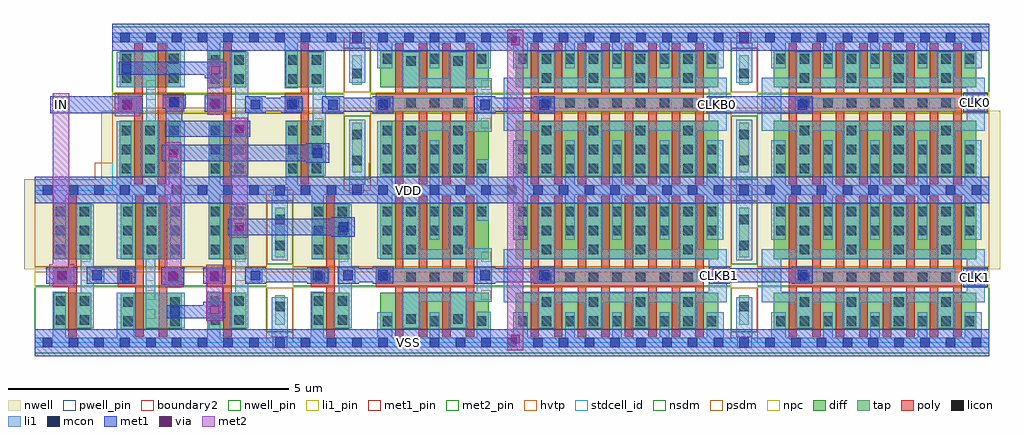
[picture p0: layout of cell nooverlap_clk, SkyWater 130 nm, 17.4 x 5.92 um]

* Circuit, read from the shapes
.subckt nooverlap_clk CLK0 CLK1 CLKB0 CLKB1 IN VDD VSS
XM1 sky130_fd_sc_hd__nand2_1_2/B IN VSS VSS sky130_fd_pr__nfet_01v8 w=0.65 l=0.15
XM2 n1 IN sky130_fd_sc_hd__inv_1_4/A VSS sky130_fd_pr__nfet_01v8 w=0.65 l=0.15
XM3 n2 sky130_fd_sc_hd__nand2_1_2/B VSS VSS sky130_fd_pr__nfet_01v8 w=0.65 l=0.15
XM4 VSS sky130_fd_sc_hd__inv_4_10/A n1 VSS sky130_fd_pr__nfet_01v8 w=0.65 l=0.15
XM5 sky130_fd_sc_hd__inv_1_5/A sky130_fd_sc_hd__inv_4_9/A n2 VSS sky130_fd_pr__nfet_01v8 w=0.65 l=0.15
XM6 sky130_fd_sc_hd__inv_1_8/A sky130_fd_sc_hd__inv_1_5/A VSS VSS sky130_fd_pr__nfet_01v8 w=0.65 l=0.15
XM7 sky130_fd_sc_hd__inv_1_6/A sky130_fd_sc_hd__inv_1_4/A VSS VSS sky130_fd_pr__nfet_01v8 w=0.65 l=0.15
XM8 sky130_fd_sc_hd__inv_4_9/A sky130_fd_sc_hd__inv_1_6/A VSS VSS sky130_fd_pr__nfet_01v8 w=0.65 l=0.15
XM9 sky130_fd_sc_hd__inv_4_10/A sky130_fd_sc_hd__inv_1_8/A VSS VSS sky130_fd_pr__nfet_01v8 w=0.65 l=0.15
XM10 sky130_fd_sc_hd__inv_8_12/A sky130_fd_sc_hd__inv_4_10/A VSS VSS sky130_fd_pr__nfet_01v8 w=0.65 l=0.15 m=4
XM11 sky130_fd_sc_hd__inv_8_11/A sky130_fd_sc_hd__inv_4_9/A VSS VSS sky130_fd_pr__nfet_01v8 w=0.65 l=0.15 m=4
XM12 CLKB1 sky130_fd_sc_hd__inv_8_12/A VSS VSS sky130_fd_pr__nfet_01v8 w=0.65 l=0.15 m=8
XM13 CLKB0 sky130_fd_sc_hd__inv_8_11/A VSS VSS sky130_fd_pr__nfet_01v8 w=0.65 l=0.15 m=8
XM14 CLK1 CLKB1 VSS VSS sky130_fd_pr__nfet_01v8 w=0.65 l=0.15 m=8
XM15 CLK0 CLKB0 VSS VSS sky130_fd_pr__nfet_01v8 w=0.65 l=0.15 m=8
XM16 sky130_fd_sc_hd__nand2_1_2/B IN VDD VDD sky130_fd_pr__pfet_01v8_hvt w=1 l=0.15
XM17 sky130_fd_sc_hd__inv_1_4/A IN VDD VDD sky130_fd_pr__pfet_01v8_hvt w=1 l=0.15
XM18 sky130_fd_sc_hd__inv_1_5/A sky130_fd_sc_hd__nand2_1_2/B VDD VDD sky130_fd_pr__pfet_01v8_hvt w=1 l=0.15
XM19 VDD sky130_fd_sc_hd__inv_4_10/A sky130_fd_sc_hd__inv_1_4/A VDD sky130_fd_pr__pfet_01v8_hvt w=1 l=0.15
XM20 VDD sky130_fd_sc_hd__inv_4_9/A sky130_fd_sc_hd__inv_1_5/A VDD sky130_fd_pr__pfet_01v8_hvt w=1 l=0.15
XM21 sky130_fd_sc_hd__inv_1_8/A sky130_fd_sc_hd__inv_1_5/A VDD VDD sky130_fd_pr__pfet_01v8_hvt w=1 l=0.15
XM22 sky130_fd_sc_hd__inv_1_6/A sky130_fd_sc_hd__inv_1_4/A VDD VDD sky130_fd_pr__pfet_01v8_hvt w=1 l=0.15
XM23 sky130_fd_sc_hd__inv_4_9/A sky130_fd_sc_hd__inv_1_6/A VDD VDD sky130_fd_pr__pfet_01v8_hvt w=1 l=0.15
XM24 sky130_fd_sc_hd__inv_4_10/A sky130_fd_sc_hd__inv_1_8/A VDD VDD sky130_fd_pr__pfet_01v8_hvt w=1 l=0.15
XM25 sky130_fd_sc_hd__inv_8_12/A sky130_fd_sc_hd__inv_4_10/A VDD VDD sky130_fd_pr__pfet_01v8_hvt w=1 l=0.15 m=4
XM26 sky130_fd_sc_hd__inv_8_11/A sky130_fd_sc_hd__inv_4_9/A VDD VDD sky130_fd_pr__pfet_01v8_hvt w=1 l=0.15 m=4
XM27 CLKB1 sky130_fd_sc_hd__inv_8_12/A VDD VDD sky130_fd_pr__pfet_01v8_hvt w=1 l=0.15 m=8
XM28 CLKB0 sky130_fd_sc_hd__inv_8_11/A VDD VDD sky130_fd_pr__pfet_01v8_hvt w=1 l=0.15 m=8
XM29 CLK1 CLKB1 VDD VDD sky130_fd_pr__pfet_01v8_hvt w=1 l=0.15 m=8
XM30 CLK0 CLKB0 VDD VDD sky130_fd_pr__pfet_01v8_hvt w=1 l=0.15 m=8
.ends

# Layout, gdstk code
from math import pi, radians
import gdstk
lib = gdstk.Library(unit=1e-6, precision=1e-09)
def R(c, l, rs):  # rectangles x0, y0, x1, y1
    for r in rs: c.add(gdstk.rectangle(r[:2], r[2:], *l))
def A(c, l, x, y, w, h, nx, ny, dx, dy):  # array of equal rectangles
    R(c, l, [(x+i*dx, y+j*dy, x+i*dx+w, y+j*dy+h) for i in range(nx) for j in range(ny)])
def P(c, l, *ps):  # polygons
    for p in ps: c.add(gdstk.Polygon(p, *l))
nwell_pin = (64, 16)
nwell = (64, 20)
diff = (65, 20)
tap = (65, 44)
poly = (66, 20)
licon = (66, 44)
li1_pin = (67, 16)
li1 = (67, 20)
mcon = (67, 44)
met1_pin = (68, 16)
met1 = (68, 20)
via = (68, 44)
met2_pin = (69, 16)
met2 = (69, 20)
hvtp = (78, 44)
stdcell_id = (81, 4)
nsdm = (93, 44)
psdm = (94, 20)
npc = (95, 20)
pwell_pin = (122, 16)
boundary2 = (236, 0)

sky130_fd_sc_hd__tapvpwr = lib.new_cell('sky130_fd_sc_hd__tapvpwrvgnd_1')
R(sky130_fd_sc_hd__tapvpwr, nwell, [(-0.19,1.305,0.65,2.91)])
R(sky130_fd_sc_hd__tapvpwr, tap, [(0.145,0.32,0.315,0.845), (0.145,1.525,0.315,2.4)])
R(sky130_fd_sc_hd__tapvpwr, licon, [(0.145,0.555,0.315,0.725), (0.145,1.645,0.315,1.815), (0.145,2.11,0.315,2.28)])
R(sky130_fd_sc_hd__tapvpwr, li1, [(0,-0.085,0.46,0.085), (0.085,0,0.375,0.81), (0.085,1.47,0.375,2.72), (0,2.635,0.46,2.805)])
R(sky130_fd_sc_hd__tapvpwr, mcon, [(0.145,-0.085,0.315,0.085), (0.145,2.635,0.315,2.805)])
R(sky130_fd_sc_hd__tapvpwr, met1_pin, [(0.105,-0.09,0.36,0.1), (0.11,2.62,0.375,2.765)])
R(sky130_fd_sc_hd__tapvpwr, met1, [(0,-0.24,0.46,0.24), (0,2.48,0.46,2.96)])
R(sky130_fd_sc_hd__tapvpwr, hvtp, [(0,1.25,0.46,2.72)])
R(sky130_fd_sc_hd__tapvpwr, stdcell_id, [(0,0,0.46,2.72)])
R(sky130_fd_sc_hd__tapvpwr, nsdm, [(0,-0.19,0.46,0.19), (0,1.395,0.46,2.53)])
R(sky130_fd_sc_hd__tapvpwr, psdm, [(0,0.19,0.46,0.975), (0,2.53,0.46,2.91)])
sky130_fd_sc_hd__tapvpwr.add(gdstk.Label('VPWR', (0.23,2.72), layer=68, texttype=5))
sky130_fd_sc_hd__tapvpwr.add(gdstk.Label('VGND', (0.23,0), layer=68, texttype=5))
sky130_fd_sc_hd__tapvpwr.add(gdstk.Label('tapvpwrvgnd_1', (0,0), layer=83, texttype=44))

sky130_fd_sc_hd__nand2_1 = lib.new_cell('sky130_fd_sc_hd__nand2_1')
R(sky130_fd_sc_hd__nand2_1, nwell_pin, [(0.14,2.635,0.31,2.805)])
R(sky130_fd_sc_hd__nand2_1, nwell, [(-0.19,1.305,1.57,2.91)])
R(sky130_fd_sc_hd__nand2_1, diff, [(0.155,0.235,1.245,0.885), (0.155,1.485,1.245,2.485)])
P(sky130_fd_sc_hd__nand2_1, poly, [(1.275,1.325),(0.985,1.325),(0.985,2.615),(0.835,2.615),(0.835,0.105),(0.985,0.105),(0.985,0.995),(1.275,0.995)],
  [(0.565,2.615),(0.415,2.615),(0.415,1.325),(0.105,1.325),(0.105,0.995),(0.415,0.995),(0.415,0.105),(0.565,0.105)])
A(sky130_fd_sc_hd__nand2_1, licon, 0.195, 1.575, 0.17, 0.17, 3, 3, 0.42, 0.34)
R(sky130_fd_sc_hd__nand2_1, licon, [(0.195,0.295,0.365,0.465), (1.035,0.295,1.205,0.465), (0.195,0.635,0.365,0.805), (1.035,0.635,1.205,0.805), (0.18,1.075,0.35,1.245), (1.02,1.075,1.19,1.245)])
A(sky130_fd_sc_hd__nand2_1, li1_pin, 0.14, 1.105, 0.17, 0.17, 3, 1, 0.46, 0)
R(sky130_fd_sc_hd__nand2_1, li1_pin, [(0.6,0.425,0.77,0.595), (0.6,0.765,0.77,0.935)])
R(sky130_fd_sc_hd__nand2_1, li1, [(0.095,1.055,0.43,1.325), (0.94,1.075,1.275,1.325)])
P(sky130_fd_sc_hd__nand2_1, li1, [(1.38,0.085),(0.395,0.085),(0.395,0.885),(0.085,0.885),(0.085,0.085),(0,0.085),(0,-0.085),(1.38,-0.085)],
  [(1.38,2.805),(0,2.805),(0,2.635),(0.085,2.635),(0.085,1.495),(0.365,1.495),(0.365,2.635),(1.035,2.635),(1.035,1.495),(1.295,1.495),(1.295,2.635),(1.38,2.635)],
  [(1.295,0.885),(0.77,0.885),(0.77,1.485),(0.865,1.485),(0.865,2.465),(0.535,2.465),(0.535,1.485),(0.6,1.485),(0.6,0.255),(1.295,0.255)])
A(sky130_fd_sc_hd__nand2_1, mcon, 0.145, -0.085, 0.17, 0.17, 3, 2, 0.46, 2.72)
R(sky130_fd_sc_hd__nand2_1, met1_pin, [(0.14,-0.085,0.31,0.085), (0.14,2.635,0.31,2.805)])
R(sky130_fd_sc_hd__nand2_1, hvtp, [(0,1.25,1.38,2.72)])
R(sky130_fd_sc_hd__nand2_1, stdcell_id, [(0,0,1.38,2.72)])
R(sky130_fd_sc_hd__nand2_1, nsdm, [(0,-0.19,1.38,1.015)])
R(sky130_fd_sc_hd__nand2_1, psdm, [(0,1.355,1.38,2.91)])
R(sky130_fd_sc_hd__nand2_1, npc, [(0,0.975,1.38,1.345)])
R(sky130_fd_sc_hd__nand2_1, pwell_pin, [(0.14,-0.085,0.31,0.085)])
R(sky130_fd_sc_hd__nand2_1, boundary2, [(0,0,1.38,2.72)])
sky130_fd_sc_hd__nand2_1.add(gdstk.FlexPath([(0,2.72),(1.38,2.72)], 0.48, ends="flush", simple_path=True, layer=68, datatype=20))  # met1
sky130_fd_sc_hd__nand2_1.add(gdstk.FlexPath([(0,0),(1.38,0)], 0.48, ends="flush", simple_path=True, layer=68, datatype=20))  # met1
sky130_fd_sc_hd__nand2_1.add(gdstk.Label('Y', (0.685,0.51), layer=67, texttype=5))
sky130_fd_sc_hd__nand2_1.add(gdstk.Label('Y', (0.685,0.85), layer=67, texttype=5))
sky130_fd_sc_hd__nand2_1.add(gdstk.Label('Y', (0.685,1.19), layer=67, texttype=5))
sky130_fd_sc_hd__nand2_1.add(gdstk.Label('B', (0.225,1.19), layer=67, texttype=5))
sky130_fd_sc_hd__nand2_1.add(gdstk.Label('A', (1.145,1.19), layer=67, texttype=5))
sky130_fd_sc_hd__nand2_1.add(gdstk.Label('VPB', (0.225,2.72), layer=64, texttype=5))
sky130_fd_sc_hd__nand2_1.add(gdstk.Label('VNB', (0.225,0), layer=64, texttype=59))
sky130_fd_sc_hd__nand2_1.add(gdstk.Label('VGND', (0.23,0), layer=68, texttype=5))
sky130_fd_sc_hd__nand2_1.add(gdstk.Label('VPWR', (0.225,2.72), layer=68, texttype=5))
sky130_fd_sc_hd__nand2_1.add(gdstk.Label('nand2_1', (0,0), layer=83, texttype=44))

sky130_fd_sc_hd__inv_1 = lib.new_cell('sky130_fd_sc_hd__inv_1')
R(sky130_fd_sc_hd__inv_1, nwell_pin, [(0.145,2.635,0.315,2.805), (0.145,2.635,0.315,2.805)])
R(sky130_fd_sc_hd__inv_1, nwell, [(-0.19,1.305,1.57,2.91)])
R(sky130_fd_sc_hd__inv_1, diff, [(0.34,0.235,1.01,0.885), (0.34,1.485,1.01,2.485)])
P(sky130_fd_sc_hd__inv_1, poly, [(0.75,2.615),(0.6,2.615),(0.6,1.325),(0.32,1.325),(0.32,0.995),(0.6,0.995),(0.6,0.105),(0.75,0.105)])
A(sky130_fd_sc_hd__inv_1, licon, 0.38, 1.575, 0.17, 0.17, 1, 3, 0, 0.34)
A(sky130_fd_sc_hd__inv_1, licon, 0.8, 1.575, 0.17, 0.17, 1, 3, 0, 0.34)
R(sky130_fd_sc_hd__inv_1, licon, [(0.38,0.315,0.55,0.485), (0.8,0.315,0.97,0.485), (0.38,0.655,0.55,0.825), (0.8,0.655,0.97,0.825), (0.4,1.075,0.57,1.245)])
R(sky130_fd_sc_hd__inv_1, li1_pin, [(0.36,1.105,0.53,1.275), (0.82,1.105,0.99,1.275), (0.82,1.445,0.99,1.615)])
R(sky130_fd_sc_hd__inv_1, li1, [(0,-0.085,1.38,0.085), (0.32,0.005,0.55,0.905), (0.32,1.075,0.65,1.315), (0.34,1.495,0.55,2.675), (0,2.635,1.38,2.805)])
P(sky130_fd_sc_hd__inv_1, li1, [(1.05,2.465),(0.72,2.465),(0.72,1.485),(0.82,1.485),(0.82,0.885),(0.72,0.885),(0.72,0.255),(1.05,0.255)])
A(sky130_fd_sc_hd__inv_1, mcon, 0.145, -0.085, 0.17, 0.17, 3, 2, 0.46, 2.72)
R(sky130_fd_sc_hd__inv_1, met1_pin, [(0.145,-0.085,0.315,0.085), (0.145,-0.085,0.315,0.085), (0.145,2.635,0.315,2.805), (0.145,2.635,0.315,2.805)])
R(sky130_fd_sc_hd__inv_1, hvtp, [(0,1.25,1.38,2.72)])
R(sky130_fd_sc_hd__inv_1, stdcell_id, [(0,0,1.38,2.72)])
R(sky130_fd_sc_hd__inv_1, nsdm, [(0,-0.19,1.38,1.015)])
R(sky130_fd_sc_hd__inv_1, psdm, [(0,1.355,1.38,2.91)])
R(sky130_fd_sc_hd__inv_1, npc, [(0,0.975,1.38,1.345)])
R(sky130_fd_sc_hd__inv_1, pwell_pin, [(0.145,-0.085,0.315,0.085), (0.145,-0.085,0.315,0.085)])
R(sky130_fd_sc_hd__inv_1, boundary2, [(0,0,1.38,2.72)])
sky130_fd_sc_hd__inv_1.add(gdstk.FlexPath([(0,2.72),(1.38,2.72)], 0.48, ends="flush", simple_path=True, layer=68, datatype=20))  # met1
sky130_fd_sc_hd__inv_1.add(gdstk.FlexPath([(0,0),(1.38,0)], 0.48, ends="flush", simple_path=True, layer=68, datatype=20))  # met1
sky130_fd_sc_hd__inv_1.add(gdstk.Label('Y', (0.905,1.53), layer=67, texttype=5))
sky130_fd_sc_hd__inv_1.add(gdstk.Label('Y', (0.905,1.19), layer=67, texttype=5))
sky130_fd_sc_hd__inv_1.add(gdstk.Label('A', (0.445,1.19), layer=67, texttype=5))
sky130_fd_sc_hd__inv_1.add(gdstk.Label('VPB', (0.23,2.72), layer=64, texttype=5))
sky130_fd_sc_hd__inv_1.add(gdstk.Label('VNB', (0.23,0), layer=64, texttype=59))
sky130_fd_sc_hd__inv_1.add(gdstk.Label('VGND', (0.23,0), layer=68, texttype=5))
sky130_fd_sc_hd__inv_1.add(gdstk.Label('VPWR', (0.23,2.72), layer=68, texttype=5))
sky130_fd_sc_hd__inv_1.add(gdstk.Label('inv_1', (0,0), layer=83, texttype=44))

sky130_fd_sc_hd__inv_4 = lib.new_cell('sky130_fd_sc_hd__inv_4')
R(sky130_fd_sc_hd__inv_4, nwell_pin, [(0.145,2.635,0.315,2.805)])
R(sky130_fd_sc_hd__inv_4, nwell, [(-0.19,1.305,2.49,2.91)])
R(sky130_fd_sc_hd__inv_4, diff, [(0.185,0.235,2.115,0.885), (0.185,1.485,2.115,2.485)])
P(sky130_fd_sc_hd__inv_4, poly, [(1.855,2.615),(1.705,2.615),(1.705,1.325),(1.435,1.325),(1.435,2.615),(1.285,2.615),(1.285,1.325),(1.015,1.325),(1.015,2.615),(0.865,2.615),(0.865,1.325),(0.595,1.325),(0.595,2.615),(0.445,2.615),(0.445,1.325),(0.105,1.325),(0.105,0.995),(0.445,0.995),(0.445,0.105),(0.595,0.105),(0.595,0.995),(0.865,0.995),(0.865,0.105),(1.015,0.105),(1.015,0.995),(1.285,0.995),(1.285,0.105),(1.435,0.105),(1.435,0.995),(1.705,0.995),(1.705,0.105),(1.855,0.105)])
A(sky130_fd_sc_hd__inv_4, licon, 0.645, 1.075, 0.17, 0.17, 3, 1, 0.42, 0)
A(sky130_fd_sc_hd__inv_4, licon, 0.225, 1.915, 0.17, 0.17, 4, 1, 0.42, 0)
A(sky130_fd_sc_hd__inv_4, licon, 0.225, 2.255, 0.17, 0.17, 5, 1, 0.42, 0)
R(sky130_fd_sc_hd__inv_4, licon, [(0.225,0.295,0.395,0.465), (1.065,0.295,1.235,0.465), (1.905,0.3,2.075,0.47), (0.645,0.335,0.815,0.505), (1.485,0.335,1.655,0.505), (0.185,1.075,0.355,1.245), (0.225,1.575,0.395,1.745), (0.645,1.575,0.815,1.745), (1.485,1.575,1.655,1.745)])
A(sky130_fd_sc_hd__inv_4, li1_pin, 0.145, 1.105, 0.17, 0.17, 5, 1, 0.46, 0)
R(sky130_fd_sc_hd__inv_4, li1_pin, [(1.985,0.765,2.155,0.935), (1.985,1.445,2.155,1.615)])
R(sky130_fd_sc_hd__inv_4, li1, [(0.105,1.075,1.735,1.325)])
P(sky130_fd_sc_hd__inv_4, li1, [(2.3,0.085),(2.155,0.085),(2.155,0.55),(1.905,0.55),(1.905,0.085),(1.235,0.085),(1.235,0.545),(1.065,0.545),(1.065,0.085),(0.395,0.085),(0.395,0.545),(0.13,0.545),(0.13,0.085),(0,0.085),(0,-0.085),(2.3,-0.085)],
  [(2.3,2.805),(0,2.805),(0,2.635),(0.13,2.635),(0.13,1.495),(0.395,1.495),(0.395,2.635),(1.065,2.635),(1.065,1.835),(1.235,1.835),(1.235,2.635),(1.905,2.635),(1.905,2.175),(2.115,2.175),(2.115,2.635),(2.3,2.635)],
  [(2.17,1.685),(1.735,1.685),(1.735,2.465),(1.405,2.465),(1.405,1.665),(0.895,1.665),(0.895,2.465),(0.565,2.465),(0.565,1.495),(1.905,1.495),(1.905,0.905),(0.565,0.905),(0.565,0.255),(0.895,0.255),(0.895,0.725),(1.405,0.725),(1.405,0.255),(1.735,0.255),(1.735,0.725),(2.17,0.725)])
A(sky130_fd_sc_hd__inv_4, mcon, 0.145, -0.085, 0.17, 0.17, 5, 2, 0.46, 2.72)
R(sky130_fd_sc_hd__inv_4, met1_pin, [(0.145,-0.085,0.315,0.085), (0.145,2.635,0.315,2.805)])
R(sky130_fd_sc_hd__inv_4, hvtp, [(0,1.25,2.3,2.72)])
R(sky130_fd_sc_hd__inv_4, stdcell_id, [(0,0,2.3,2.72)])
R(sky130_fd_sc_hd__inv_4, nsdm, [(0,-0.19,2.3,1.015)])
R(sky130_fd_sc_hd__inv_4, psdm, [(0,1.355,2.3,2.91)])
R(sky130_fd_sc_hd__inv_4, npc, [(0,0.975,2.3,1.345)])
R(sky130_fd_sc_hd__inv_4, pwell_pin, [(0.145,-0.085,0.315,0.085)])
R(sky130_fd_sc_hd__inv_4, boundary2, [(0,0,2.3,2.72)])
sky130_fd_sc_hd__inv_4.add(gdstk.FlexPath([(0,2.72),(2.3,2.72)], 0.48, ends="flush", simple_path=True, layer=68, datatype=20))  # met1
sky130_fd_sc_hd__inv_4.add(gdstk.FlexPath([(0,0),(2.3,0)], 0.48, ends="flush", simple_path=True, layer=68, datatype=20))  # met1
sky130_fd_sc_hd__inv_4.add(gdstk.Label('Y', (2.07,0.85), layer=67, texttype=5))
sky130_fd_sc_hd__inv_4.add(gdstk.Label('Y', (2.07,1.19), layer=67, texttype=5))
sky130_fd_sc_hd__inv_4.add(gdstk.Label('Y', (2.07,1.53), layer=67, texttype=5))
sky130_fd_sc_hd__inv_4.add(gdstk.Label('A', (0.23,1.19), layer=67, texttype=5))
sky130_fd_sc_hd__inv_4.add(gdstk.Label('A', (0.69,1.19), layer=67, texttype=5))
sky130_fd_sc_hd__inv_4.add(gdstk.Label('A', (1.15,1.19), layer=67, texttype=5))
sky130_fd_sc_hd__inv_4.add(gdstk.Label('A', (1.61,1.19), layer=67, texttype=5))
sky130_fd_sc_hd__inv_4.add(gdstk.Label('VPB', (0.23,2.72), layer=64, texttype=5))
sky130_fd_sc_hd__inv_4.add(gdstk.Label('VNB', (0.23,0), layer=64, texttype=59))
sky130_fd_sc_hd__inv_4.add(gdstk.Label('VPWR', (0.23,2.72), layer=68, texttype=5))
sky130_fd_sc_hd__inv_4.add(gdstk.Label('VGND', (0.23,0), layer=68, texttype=5))
sky130_fd_sc_hd__inv_4.add(gdstk.Label('inv_4', (0,0), layer=83, texttype=44))

sky130_fd_sc_hd__inv_8 = lib.new_cell('sky130_fd_sc_hd__inv_8')
R(sky130_fd_sc_hd__inv_8, nwell_pin, [(0.145,2.635,0.315,2.805)])
R(sky130_fd_sc_hd__inv_8, nwell, [(-0.19,1.305,4.33,2.91)])
R(sky130_fd_sc_hd__inv_8, diff, [(0.3,0.235,3.91,0.885), (0.3,1.485,3.91,2.485)])
P(sky130_fd_sc_hd__inv_8, poly, [(3.65,2.615),(3.5,2.615),(3.5,1.325),(3.23,1.325),(3.23,2.615),(3.08,2.615),(3.08,1.325),(2.81,1.325),(2.81,2.615),(2.66,2.615),(2.66,1.325),(2.39,1.325),(2.39,2.615),(2.24,2.615),(2.24,1.325),(1.97,1.325),(1.97,2.615),(1.82,2.615),(1.82,1.325),(1.55,1.325),(1.55,2.615),(1.4,2.615),(1.4,1.325),(1.13,1.325),(1.13,2.615),(0.98,2.615),(0.98,1.325),(0.71,1.325),(0.71,2.615),(0.56,2.615),(0.56,0.105),(0.71,0.105),(0.71,0.995),(0.98,0.995),(0.98,0.105),(1.13,0.105),(1.13,0.995),(1.4,0.995),(1.4,0.105),(1.55,0.105),(1.55,0.995),(1.82,0.995),(1.82,0.105),(1.97,0.105),(1.97,0.995),(2.24,0.995),(2.24,0.105),(2.39,0.105),(2.39,0.995),(2.66,0.995),(2.66,0.105),(2.81,0.105),(2.81,0.995),(3.08,0.995),(3.08,0.105),(3.23,0.105),(3.23,0.995),(3.5,0.995),(3.5,0.105),(3.65,0.105)])
A(sky130_fd_sc_hd__inv_8, licon, 0.34, 0.295, 0.17, 0.17, 9, 2, 0.42, 1.62)
A(sky130_fd_sc_hd__inv_8, licon, 0.76, 0.635, 0.17, 0.17, 4, 2, 0.84, 0.94)
A(sky130_fd_sc_hd__inv_8, licon, 0.76, 1.075, 0.17, 0.17, 7, 1, 0.42, 0)
A(sky130_fd_sc_hd__inv_8, licon, 0.34, 2.255, 0.17, 0.17, 9, 1, 0.42, 0)
A(sky130_fd_sc_hd__inv_8, li1_pin, 1.065, 1.105, 0.17, 0.17, 7, 1, 0.46, 0)
R(sky130_fd_sc_hd__inv_8, li1_pin, [(0.145,1.105,0.315,1.275)])
R(sky130_fd_sc_hd__inv_8, li1, [(0.68,1.075,3.535,1.325)])
P(sky130_fd_sc_hd__inv_8, li1, [(4.055,1.665),(3.735,1.665),(3.735,0.905),(0.43,0.905),(0.43,1.495),(3.735,1.495),(3.735,1.665),(3.53,1.665),(3.53,2.465),(3.2,2.465),(3.2,1.665),(2.69,1.665),(2.69,2.465),(2.36,2.465),(2.36,1.665),(1.85,1.665),(1.85,2.465),(1.52,2.465),(1.52,1.665),(1.01,1.665),(1.01,2.465),(0.68,2.465),(0.68,1.665),(0.085,1.665),(0.085,0.715),(0.68,0.715),(0.68,0.255),(1.01,0.255),(1.01,0.715),(1.52,0.715),(1.52,0.255),(1.85,0.255),(1.85,0.715),(2.36,0.715),(2.36,0.255),(2.69,0.255),(2.69,0.715),(3.2,0.715),(3.2,0.255),(3.53,0.255),(3.53,0.715),(4.055,0.715)],
  [(4.14,0.085),(4.005,0.085),(4.005,0.545),(3.7,0.545),(3.7,0.085),(3.03,0.085),(3.03,0.545),(2.86,0.545),(2.86,0.085),(2.19,0.085),(2.19,0.545),(2.02,0.545),(2.02,0.085),(1.35,0.085),(1.35,0.545),(1.18,0.545),(1.18,0.085),(0.51,0.085),(0.51,0.545),(0.255,0.545),(0.255,0.085),(0,0.085),(0,-0.085),(4.14,-0.085)],
  [(4.14,2.805),(0,2.805),(0,2.635),(0.255,2.635),(0.255,1.835),(0.51,1.835),(0.51,2.635),(1.18,2.635),(1.18,1.835),(1.35,1.835),(1.35,2.635),(2.02,2.635),(2.02,1.835),(2.19,1.835),(2.19,2.635),(2.86,2.635),(2.86,1.835),(3.03,1.835),(3.03,2.635),(3.7,2.635),(3.7,1.835),(4,1.835),(4,2.635),(4.14,2.635)])
A(sky130_fd_sc_hd__inv_8, mcon, 0.145, -0.085, 0.17, 0.17, 9, 2, 0.46, 2.72)
R(sky130_fd_sc_hd__inv_8, met1_pin, [(0.145,-0.085,0.315,0.085), (0.145,2.635,0.315,2.805)])
R(sky130_fd_sc_hd__inv_8, hvtp, [(0,1.25,4.14,2.72)])
R(sky130_fd_sc_hd__inv_8, stdcell_id, [(0,0,4.14,2.72)])
R(sky130_fd_sc_hd__inv_8, nsdm, [(0,-0.19,4.14,1.015)])
R(sky130_fd_sc_hd__inv_8, psdm, [(0,1.355,4.14,2.91)])
R(sky130_fd_sc_hd__inv_8, npc, [(0,0.975,4.14,1.345)])
R(sky130_fd_sc_hd__inv_8, pwell_pin, [(0.145,-0.085,0.315,0.085)])
R(sky130_fd_sc_hd__inv_8, boundary2, [(0,0,4.14,2.72)])
sky130_fd_sc_hd__inv_8.add(gdstk.FlexPath([(0,2.72),(4.14,2.72)], 0.48, ends="flush", simple_path=True, layer=68, datatype=20))  # met1
sky130_fd_sc_hd__inv_8.add(gdstk.FlexPath([(0,0),(4.14,0)], 0.48, ends="flush", simple_path=True, layer=68, datatype=20))  # met1
sky130_fd_sc_hd__inv_8.add(gdstk.Label('A', (1.15,1.19), layer=67, texttype=5))
sky130_fd_sc_hd__inv_8.add(gdstk.Label('A', (1.61,1.19), layer=67, texttype=5))
sky130_fd_sc_hd__inv_8.add(gdstk.Label('A', (2.07,1.19), layer=67, texttype=5))
sky130_fd_sc_hd__inv_8.add(gdstk.Label('A', (2.53,1.19), layer=67, texttype=5))
sky130_fd_sc_hd__inv_8.add(gdstk.Label('A', (2.99,1.19), layer=67, texttype=5))
sky130_fd_sc_hd__inv_8.add(gdstk.Label('A', (3.45,1.19), layer=67, texttype=5))
sky130_fd_sc_hd__inv_8.add(gdstk.Label('Y', (3.91,1.19), layer=67, texttype=5))
sky130_fd_sc_hd__inv_8.add(gdstk.Label('Y', (0.23,1.19), layer=67, texttype=5))
sky130_fd_sc_hd__inv_8.add(gdstk.Label('VNB', (0.23,0), layer=64, texttype=59))
sky130_fd_sc_hd__inv_8.add(gdstk.Label('VPB', (0.23,2.72), layer=64, texttype=5))
sky130_fd_sc_hd__inv_8.add(gdstk.Label('VGND', (0.23,0), layer=68, texttype=5))
sky130_fd_sc_hd__inv_8.add(gdstk.Label('VPWR', (0.23,2.72), layer=68, texttype=5))
sky130_fd_sc_hd__inv_8.add(gdstk.Label('inv_8', (0,0), layer=83, texttype=44))

nooverlap_clk = lib.new_cell('nooverlap_clk')
R(nooverlap_clk, nwell, [(4.62,-3.28,4.94,-2.99)])
R(nooverlap_clk, li1, [(0.535,-5.385,0.705,-5.215), (14.735,-4.835,15.055,-4.545), (0.44,-4.79,0.73,-4.54), (-0.89,-4.775,-0.635,-4.525), (-0.405,-4.775,-0.15,-4.525), (1.93,-4.775,2.18,-4.535), (3.04,-4.775,3.29,-4.535), (3.585,-4.775,3.835,-4.525), (4.205,-4.775,4.455,-4.525), (6.02,-4.775,6.27,-4.525), (7.08,-4.775,7.33,-4.525), (10.205,-4.775,10.455,-4.525), (11.68,-4.775,11.93,-4.525), (-1.56,-4.77,-1.23,-4.535), (1.24,-4.745,1.41,-4.575), (3.48,-3.935,3.77,-3.645), (3.02,-2.615,3.31,-2.325), (-0.395,-1.735,-0.06,-1.485), (3.31,-1.735,3.56,-1.485), (4.205,-1.735,4.455,-1.485), (6.02,-1.735,6.27,-1.485), (7.08,-1.735,7.33,-1.485), (10.165,-1.735,10.415,-1.485), (11.68,-1.735,11.93,-1.485), (1.93,-1.725,2.18,-1.485), (2.58,-1.725,2.83,-1.485), (14.735,-1.715,15.055,-1.425), (1.24,-1.685,1.41,-1.515), (0.46,-1.655,0.75,-1.465), (-0.325,-1.045,-0.155,-0.875)])
R(nooverlap_clk, mcon, [(0.535,-5.385,0.705,-5.215), (14.81,-4.775,14.98,-4.605), (0.5,-4.75,0.67,-4.58), (1.24,-4.745,1.41,-4.575), (-1.48,-4.74,-1.31,-4.57), (1.97,-4.74,2.14,-4.57), (3.08,-4.74,3.25,-4.57), (-0.85,-4.735,-0.68,-4.565), (-0.365,-4.735,-0.195,-4.565), (3.625,-4.735,3.795,-4.565), (4.245,-4.735,4.415,-4.565), (6.06,-4.735,6.23,-4.565), (7.12,-4.735,7.29,-4.565), (10.245,-4.735,10.415,-4.565), (11.72,-4.735,11.89,-4.565), (3.54,-3.875,3.71,-3.705), (3.08,-2.555,3.25,-2.385), (-0.315,-1.695,-0.145,-1.525), (3.35,-1.695,3.52,-1.525), (4.245,-1.695,4.415,-1.525), (6.06,-1.695,6.23,-1.525), (7.12,-1.695,7.29,-1.525), (10.205,-1.695,10.375,-1.525), (11.72,-1.695,11.89,-1.525), (1.97,-1.69,2.14,-1.52), (2.62,-1.69,2.79,-1.52), (1.24,-1.685,1.41,-1.515), (14.81,-1.655,14.98,-1.485), (0.52,-1.645,0.69,-1.475), (-0.325,-1.045,-0.155,-0.875)])
R(nooverlap_clk, met1_pin, [(4.705,-5.935,4.875,-5.765), (14.735,-4.835,15.055,-4.545), (10.205,-4.775,10.455,-4.525), (4.705,-3.215,4.875,-3.045), (10.165,-1.735,10.415,-1.485), (14.735,-1.715,15.055,-1.425)])
R(nooverlap_clk, met1, [(4.625,-5.99,4.945,-5.7), (6.495,-5.935,6.885,-5.645), (0.475,-5.415,1.52,-5.185), (1.13,-5.185,1.52,-5.125), (14.675,-4.865,15.115,-4.515), (0.38,-4.82,0.79,-4.51), (-0.95,-4.805,-0.09,-4.495), (1.13,-4.805,1.52,-4.515), (1.87,-4.805,2.24,-4.775), (2.98,-4.805,3.35,-4.775), (3.525,-4.805,3.895,-4.775), (4.145,-4.805,4.515,-4.775), (5.96,-4.805,6.33,-4.775), (7.02,-4.805,7.39,-4.775), (10.145,-4.805,10.515,-4.775), (11.62,-4.805,11.99,-4.775), (-1.67,-4.8,-1.12,-4.505), (1.87,-4.775,3.35,-4.535), (3.525,-4.775,4.515,-4.525), (5.96,-4.775,7.39,-4.525), (10.145,-4.775,11.99,-4.525), (1.87,-4.535,2.24,-4.505), (2.98,-4.535,3.35,-4.505), (3.525,-4.525,3.895,-4.495), (4.145,-4.525,4.515,-4.495), (5.96,-4.525,6.33,-4.495), (7.02,-4.525,7.39,-4.495), (10.145,-4.525,10.515,-4.495), (11.62,-4.525,11.99,-4.495), (3.42,-3.965,3.83,-3.935), (1.575,-3.935,3.83,-3.645), (3.42,-3.645,3.83,-3.615), (4.62,-3.28,4.94,-2.99), (2.96,-2.645,3.37,-2.615), (0.39,-2.615,3.37,-2.325), (2.96,-2.325,3.37,-2.295), (0.45,-2.185,1.965,-1.895), (0.46,-1.895,0.75,-1.685), (-1.605,-1.765,0.05,-1.455), (3.25,-1.765,3.62,-1.735), (4.145,-1.765,4.515,-1.735), (5.96,-1.765,6.33,-1.735), (7.02,-1.765,7.39,-1.735), (10.105,-1.765,11.99,-1.455), (1.87,-1.755,2.24,-1.725), (2.52,-1.755,2.89,-1.725), (14.675,-1.745,15.115,-1.395), (1.15,-1.735,1.54,-1.445), (3.25,-1.735,4.515,-1.485), (5.96,-1.735,7.39,-1.485), (1.87,-1.725,2.89,-1.485), (0.4,-1.685,0.81,-1.435), (1.87,-1.485,2.24,-1.455), (2.52,-1.485,2.89,-1.455), (3.25,-1.485,3.62,-1.455), (4.145,-1.485,4.515,-1.455), (5.96,-1.485,6.33,-1.455), (7.02,-1.485,7.39,-1.455), (1.15,-1.135,1.54,-1.075), (-0.385,-1.075,1.54,-0.845), (6.495,-0.615,6.885,-0.325)])
R(nooverlap_clk, via, [(6.615,-5.865,6.765,-5.715), (1.25,-5.345,1.4,-5.195), (0.51,-4.745,0.66,-4.595), (1.25,-4.735,1.4,-4.585), (-1.47,-4.73,-1.32,-4.58), (1.695,-3.865,1.845,-3.715), (0.51,-2.545,0.66,-2.395), (1.695,-2.115,1.845,-1.965), (-1.485,-1.685,-1.335,-1.535), (-0.305,-1.685,-0.155,-1.535), (1.27,-1.665,1.42,-1.515), (1.27,-1.065,1.42,-0.915), (6.615,-0.545,6.765,-0.395)])
R(nooverlap_clk, met2_pin, [(-1.555,-1.765,-1.26,-1.455)])
R(nooverlap_clk, met2, [(6.545,-5.985,6.835,-0.275), (1.18,-5.465,1.47,-4.465), (0.44,-4.865,0.73,-2.275), (-1.62,-4.85,-1.17,-4.455), (-1.555,-4.455,-1.26,-1.405), (1.625,-3.985,1.915,-1.845), (-0.455,-1.815,0,-1.405), (1.2,-1.785,1.49,-0.795)])
R(nooverlap_clk, hvtp, [(2.975,-3.5,3.14,-3.185), (-0.265,-3.185,0.645,-3.075), (1.3,-3.185,1.81,-3.075), (2.975,-3.185,3.355,-3.075), (4.365,-3.185,6.135,-3.075), (6.78,-3.185,10.23,-3.075), (11.38,-3.185,14.83,-3.075), (3.19,-3.075,3.355,-2.76)])
R(nooverlap_clk, nsdm, [(-0.745,-5.74,-0.47,-4.84), (0.87,-5.74,1.095,-4.84), (3.855,-5.74,4.16,-4.84), (6.34,-5.74,6.575,-4.84), (0.85,-1.42,1.095,-0.52), (6.34,-1.42,6.575,-0.52)])
R(nooverlap_clk, psdm, [(-0.745,-4.49,-0.47,-3.24), (0.87,-4.49,1.095,-3.24), (3.855,-4.49,4.16,-3.24), (6.34,-4.49,6.575,-3.24), (-0.81,-3.24,2.015,-3.02), (2.935,-3.24,3.395,-3.02), (3.815,-3.24,10.435,-3.02), (11.175,-3.24,15.035,-3.02), (-0.81,-3.02,-0.49,-2.645), (0.85,-3.02,1.095,-1.77), (3.815,-3.02,4.16,-2.935), (6.34,-3.02,6.575,-1.77), (4.08,-2.935,4.16,-2.64)])
nooverlap_clk.add(gdstk.Reference(sky130_fd_sc_hd__tapvpwr, (2.26,-5.85)))
nooverlap_clk.add(gdstk.Reference(sky130_fd_sc_hd__nand2_1, (0.88,-0.41), rotation=pi))
nooverlap_clk.add(gdstk.Reference(sky130_fd_sc_hd__nand2_1, (-0.5,-5.85)))
nooverlap_clk.add(gdstk.Reference(sky130_fd_sc_hd__inv_1, (-1.88,-5.85)))
nooverlap_clk.add(gdstk.Reference(sky130_fd_sc_hd__inv_1, (0.88,-0.41), x_reflection=True))
nooverlap_clk.add(gdstk.Reference(sky130_fd_sc_hd__inv_1, (0.88,-5.85)))
nooverlap_clk.add(gdstk.Reference(sky130_fd_sc_hd__inv_1, (2.26,-0.41), x_reflection=True))
nooverlap_clk.add(gdstk.Reference(sky130_fd_sc_hd__tapvpwr, (4.1,-0.41), rotation=pi))
nooverlap_clk.add(gdstk.Reference(sky130_fd_sc_hd__inv_1, (2.72,-5.85)))
nooverlap_clk.add(gdstk.Reference(sky130_fd_sc_hd__inv_4, (4.1,-0.41), x_reflection=True))
nooverlap_clk.add(gdstk.Reference(sky130_fd_sc_hd__inv_4, (4.1,-5.85)))
nooverlap_clk.add(gdstk.Reference(sky130_fd_sc_hd__inv_8, (6.4,-0.41), x_reflection=True))
nooverlap_clk.add(gdstk.Reference(sky130_fd_sc_hd__inv_8, (6.4,-5.85)))
nooverlap_clk.add(gdstk.Reference(sky130_fd_sc_hd__tapvpwr, (11,-0.41), rotation=pi))
nooverlap_clk.add(gdstk.Reference(sky130_fd_sc_hd__tapvpwr, (10.54,-5.85)))
nooverlap_clk.add(gdstk.Reference(sky130_fd_sc_hd__inv_8, (11,-0.41), x_reflection=True))
nooverlap_clk.add(gdstk.Reference(sky130_fd_sc_hd__inv_8, (11,-5.85)))
nooverlap_clk.add(gdstk.Label('IN', (-1.407,-1.61), layer=69, texttype=5))
nooverlap_clk.add(gdstk.Label('CLKB0', (10.29,-1.61), layer=68, texttype=5))
nooverlap_clk.add(gdstk.Label('CLKB1', (10.33,-4.65), layer=68, texttype=5))
nooverlap_clk.add(gdstk.Label('VDD', (4.79,-3.13), layer=68, texttype=5))
nooverlap_clk.add(gdstk.Label('VSS', (4.79,-5.85), layer=68, texttype=5))
nooverlap_clk.add(gdstk.Label('CLK0', (14.895,-1.57), layer=68, texttype=5))
nooverlap_clk.add(gdstk.Label('CLK1', (14.895,-4.69), layer=68, texttype=5))

lib.write_gds('nooverlap_clk.gds')
